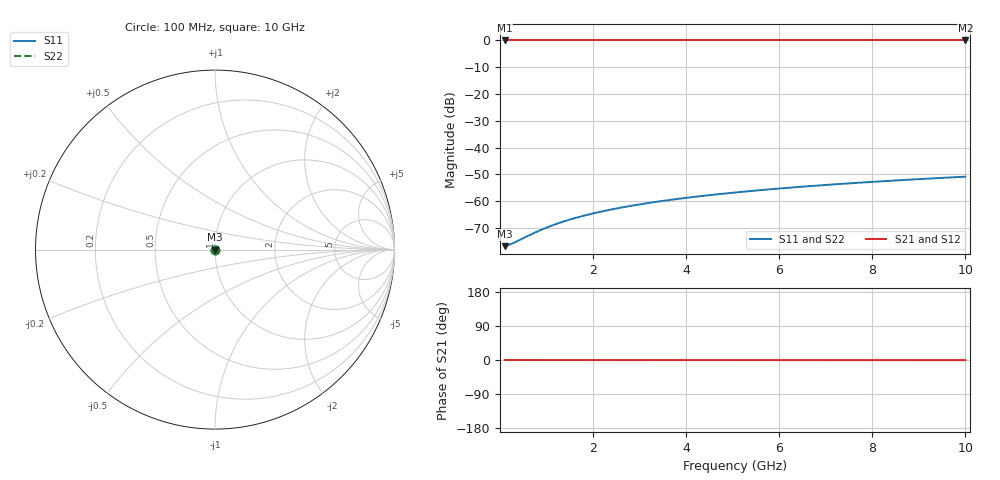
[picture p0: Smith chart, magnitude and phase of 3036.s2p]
# Hz S RI R 50.00
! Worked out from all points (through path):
!   100 points, 100 MHz to 10 GHz, reference 50 ohm
!   highest |S21| = 0.00 dB at 100 MHz (marker M1); lowest = 0.0 dB at 10 GHz (marker M2)
!   lowest |S11| = -76.8 dB at 100 MHz (marker M3), VSWR 1.00, Z = 50 + j0.00285 ohm
!   |S11| at or under -10 dB: start of sweep to end of sweep
!   |S22| runs from -76.8 to -50.9 dB; largest |S21 - S12| = 0
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1e8  0.000142 2.85e-05  0.9999 -5.38e-05  0.9999 -5.38e-05  0.000142 2.85e-05
2e8  0.000143 5.71e-05  0.9999 -0.000108  0.9999 -0.000108  0.000143 5.71e-05
3e8  0.000143 8.56e-05  0.9999 -0.000161  0.9999 -0.000161  0.000143 8.56e-05
6e8  0.000145 0.000171  0.9999 -0.000323  0.9999 -0.000323  0.000145 0.000171
8e8  0.000145 0.000228  0.9999 -0.00043  0.9999 -0.00043  0.000145 0.000228
9e8  0.000146 0.000257  0.9999 -0.000484  0.9999 -0.000484  0.000146 0.000257
1.1e9  0.000146 0.000314  0.9999 -0.000591  0.9999 -0.000591  0.000146 0.000314
1.4e9  0.000147 0.0004  0.9999 -0.000753  0.9999 -0.000753  0.000147 0.0004
1.6e9  0.000148 0.000457  0.9999 -0.00086  0.9999 -0.00086  0.000148 0.000457
1.8e9  0.000148 0.000514  0.9999 -0.000968  0.9999 -0.000968  0.000148 0.000514
2.1e9  0.000149 0.000599  0.9998 -0.00113  0.9998 -0.00113  0.000149 0.000599
2.5e9  0.00015 0.000713  0.9998 -0.00134  0.9998 -0.00134  0.00015 0.000713
2.9e9  0.000151 0.000828  0.9998 -0.00156  0.9998 -0.00156  0.000151 0.000828
3.4e9  0.000152 0.00097  0.9998 -0.00183  0.9998 -0.00183  0.000152 0.00097
3.8e9  0.000153 0.00108  0.9998 -0.00204  0.9998 -0.00204  0.000153 0.00108
4.2e9  0.000154 0.0012  0.9998 -0.00226  0.9998 -0.00226  0.000154 0.0012
5.1e9  0.000156 0.00146  0.9998 -0.00274  0.9998 -0.00274  0.000156 0.00146
5.9e9  0.000159 0.00168  0.9998 -0.00317  0.9998 -0.00317  0.000159 0.00168
6.7e9  0.000161 0.00191  0.9998 -0.0036  0.9998 -0.0036  0.000161 0.00191
7.5e9  0.000164 0.00214  0.9998 -0.00404  0.9998 -0.00404  0.000164 0.00214
8.4e9  0.000167 0.0024  0.9998 -0.00452  0.9998 -0.00452  0.000167 0.0024
1e10  0.000173 0.00286  0.9998 -0.00539  0.9998 -0.00539  0.000173 0.00286
